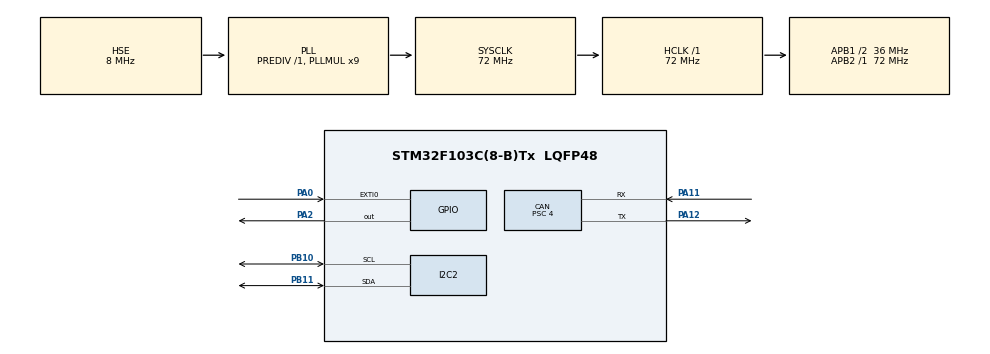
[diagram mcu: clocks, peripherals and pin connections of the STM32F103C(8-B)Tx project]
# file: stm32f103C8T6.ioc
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CAN.BS1=CAN_BS1_13TQ
CAN.BS2=CAN_BS2_4TQ
CAN.CalculateBaudRate=500000
CAN.CalculateTimeBit=2000
CAN.CalculateTimeQuantum=111.11111111111111
CAN.Mode=CAN_MODE_LOOPBACK
CAN.NART=ENABLE
CAN.Prescaler=4
I2C2.I2C_Mode=I2C_Fast
Mcu.Family=STM32F1
Mcu.Name=STM32F103C(8-B)Tx
Mcu.Package=LQFP48
NVIC.EXTI0_IRQn=true\:1\:0\:true\:false\:true\:true\:true\:true
NVIC.PriorityGroup=NVIC_PRIORITYGROUP_4
NVIC.USB_LP_CAN1_RX0_IRQn=true\:2\:0\:true\:false\:true\:true\:true\:true
PA0-WKUP.GPIO_PuPd=GPIO_PULLUP
PA0-WKUP.Signal=GPXTI0
PA11.Mode=CAN_Activate
PA11.Signal=CAN_RX
PA12.Mode=CAN_Activate
PA12.Signal=CAN_TX
PA13.Mode=Serial_Wire
PA13.Signal=SYS_JTMS-SWDIO
PA14.Mode=Serial_Wire
PA14.Signal=SYS_JTCK-SWCLK
PA2.GPIO_ModeDefaultOutputPP=GPIO_MODE_OUTPUT_PP
PA2.GPIO_PuPd=GPIO_NOPULL
PA2.Signal=GPIO_Output
PB10.Mode=I2C
PB10.Signal=I2C2_SCL
PB11.Mode=I2C
PB11.Signal=I2C2_SDA
PD0-OSC_IN.Mode=HSE-External-Oscillator
PD0-OSC_IN.Signal=RCC_OSC_IN
PD1-OSC_OUT.Mode=HSE-External-Oscillator
PD1-OSC_OUT.Signal=RCC_OSC_OUT
ProjectManager.HeapSize=0x200
ProjectManager.StackSize=0x400
ProjectManager.TargetToolchain=CMake
RCC.AHBFreq_Value=72000000
RCC.APB1CLKDivider=RCC_HCLK_DIV2
RCC.APB1Freq_Value=36000000
RCC.APB1TimFreq_Value=72000000
RCC.APB2Freq_Value=72000000
RCC.APB2TimFreq_Value=72000000
RCC.HCLKFreq_Value=72000000
RCC.PLLMUL=RCC_PLL_MUL9
RCC.PLLSourceVirtual=RCC_PLLSOURCE_HSE
RCC.SYSCLKFreq_VALUE=72000000
RCC.SYSCLKSource=RCC_SYSCLKSOURCE_PLLCLK
RCC.USBFreq_Value=72000000
board=custom

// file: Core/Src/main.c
/* USER CODE BEGIN Header */
/**
 ******************************************************************************
 * @file           : main.c
 * @brief          : Main program body
 * @author         : luo-luo-o
 ******************************************************************************
 * @attention
 *
 * Copyright (c) 2026 STMicroelectronics.
 * All rights reserved.
 *
 * This software is licensed under terms that can be found in the LICENSE file
 * in the root directory of this software component.
 * If no LICENSE file comes with this software, it is provided AS-IS.
 *
 ******************************************************************************
 */
/* USER CODE END Header */
#include "main.h"

/* USER CODE BEGIN Includes */

#include "OLED.h"
#include "CAN.h"
#include "stm32f1xx_hal.h"
#include <string.h>

/* USER CODE END Includes */

/* USER CODE BEGIN PD */
#define LED_ON GPIO_PIN_SET
#define LED_OFF GPIO_PIN_RESET

/* USER CODE END PD */

CAN_HandleTypeDef hcan;

I2C_HandleTypeDef hi2c2;

/* USER CODE BEGIN PV */

static CAN_RxHeaderTypeDef RxHeader;
static uint8_t RxData[8];

/* USER CODE END PV */

void SystemClock_Config(void);
static void MX_GPIO_Init(void);
static void MX_CAN_Init(void);
static void MX_I2C2_Init(void);

int main(void)
{

  /* MCU Configuration--------------------------------------------------------*/

  /* Reset of all peripherals, Initializes the Flash interface and the Systick. */
  HAL_Init();

  /* Configure the system clock */
  SystemClock_Config();

  /* Initialize all configured peripherals */
  MX_GPIO_Init();
  MX_CAN_Init();
  MX_I2C2_Init();
  /* USER CODE BEGIN 2 */
  OLED_Init();
  CAN_Init();

  uint8_t count = 0; // 计数变量

  /* USER CODE END 2 */

  /* Infinite loop */
  /* USER CODE BEGIN WHILE */
  while (1)
  {
    HAL_GPIO_WritePin(GPIOA, GPIO_PIN_2, LED_ON);

    static uint32_t can_send_tick = 0;
    uint8_t msg1[8] = {'H', 'e', 'l', 'l', 'o', ' ', 'C', 'A'};
    uint8_t msg2[8] = {'N', '!', 0, 0, 0, 0, 0, 0};
    uint8_t msg3[8] = {'C', 'O', 'U', 'N', 'T', ':', ' '}; // 用于显示计数值

    if (HAL_GetTick() - can_send_tick >= 0)
    {
      CAN_Send_Msg(0x123, msg1, 8); // 发送第一帧
      CAN_Send_Msg(0x123, msg2, 2); // 发送第二帧
      CAN_Send_Msg(0x125, msg3, 7); // 发送第三帧
      CAN_Send_Num(0x125, count); // 发送计数值

      count++;

      can_send_tick = HAL_GetTick();
    }

    /* USER CODE END WHILE */

  }
}

void SystemClock_Config(void)
{
  RCC_OscInitTypeDef RCC_OscInitStruct = {0};
  RCC_ClkInitTypeDef RCC_ClkInitStruct = {0};

  /** Initializes the RCC Oscillators according to the specified parameters
  * in the RCC_OscInitTypeDef structure.
  */
  RCC_OscInitStruct.OscillatorType = RCC_OSCILLATORTYPE_HSE;
  RCC_OscInitStruct.HSEState = RCC_HSE_ON;
  RCC_OscInitStruct.HSEPredivValue = RCC_HSE_PREDIV_DIV1;
  RCC_OscInitStruct.HSIState = RCC_HSI_ON;
  RCC_OscInitStruct.PLL.PLLState = RCC_PLL_ON;
  RCC_OscInitStruct.PLL.PLLSource = RCC_PLLSOURCE_HSE;
  RCC_OscInitStruct.PLL.PLLMUL = RCC_PLL_MUL9;
  if (HAL_RCC_OscConfig(&RCC_OscInitStruct) != HAL_OK)
  {
    Error_Handler();
  }

  /** Initializes the CPU, AHB and APB buses clocks
  */
  RCC_ClkInitStruct.ClockType = RCC_CLOCKTYPE_HCLK|RCC_CLOCKTYPE_SYSCLK
                              |RCC_CLOCKTYPE_PCLK1|RCC_CLOCKTYPE_PCLK2;
  RCC_ClkInitStruct.SYSCLKSource = RCC_SYSCLKSOURCE_PLLCLK;
  RCC_ClkInitStruct.AHBCLKDivider = RCC_SYSCLK_DIV1;
  RCC_ClkInitStruct.APB1CLKDivider = RCC_HCLK_DIV2;
  RCC_ClkInitStruct.APB2CLKDivider = RCC_HCLK_DIV1;

  if (HAL_RCC_ClockConfig(&RCC_ClkInitStruct, FLASH_LATENCY_2) != HAL_OK)
  {
    Error_Handler();
  }
}

static void MX_CAN_Init(void)
{

  hcan.Instance = CAN1;
  hcan.Init.Prescaler = 4;
  hcan.Init.Mode = CAN_MODE_LOOPBACK;
  hcan.Init.SyncJumpWidth = CAN_SJW_1TQ;
  hcan.Init.TimeSeg1 = CAN_BS1_13TQ;
  hcan.Init.TimeSeg2 = CAN_BS2_4TQ;
  hcan.Init.TimeTriggeredMode = DISABLE;
  hcan.Init.AutoBusOff = DISABLE;
  hcan.Init.AutoWakeUp = DISABLE;
  hcan.Init.AutoRetransmission = ENABLE;
  hcan.Init.ReceiveFifoLocked = DISABLE;
  hcan.Init.TransmitFifoPriority = DISABLE;
  if (HAL_CAN_Init(&hcan) != HAL_OK)
  {
    Error_Handler();
  }

}

static void MX_I2C2_Init(void)
{

  hi2c2.Instance = I2C2;
  hi2c2.Init.ClockSpeed = 400000;
  hi2c2.Init.DutyCycle = I2C_DUTYCYCLE_2;
  hi2c2.Init.OwnAddress1 = 0;
  hi2c2.Init.AddressingMode = I2C_ADDRESSINGMODE_7BIT;
  hi2c2.Init.DualAddressMode = I2C_DUALADDRESS_DISABLE;
  hi2c2.Init.OwnAddress2 = 0;
  hi2c2.Init.GeneralCallMode = I2C_GENERALCALL_DISABLE;
  hi2c2.Init.NoStretchMode = I2C_NOSTRETCH_DISABLE;
  if (HAL_I2C_Init(&hi2c2) != HAL_OK)
  {
    Error_Handler();
  }

}

static void MX_GPIO_Init(void)
{
  GPIO_InitTypeDef GPIO_InitStruct = {0};

  /* GPIO Ports Clock Enable */
  __HAL_RCC_GPIOD_CLK_ENABLE();
  __HAL_RCC_GPIOA_CLK_ENABLE();
  __HAL_RCC_GPIOB_CLK_ENABLE();

  /*Configure GPIO pin Output Level */
  HAL_GPIO_WritePin(GPIOA, GPIO_PIN_2, GPIO_PIN_RESET);

  /*Configure GPIO pin : PA0 */
  GPIO_InitStruct.Pin = GPIO_PIN_0;
  GPIO_InitStruct.Mode = GPIO_MODE_IT_RISING;
  GPIO_InitStruct.Pull = GPIO_PULLUP;
  HAL_GPIO_Init(GPIOA, &GPIO_InitStruct);

  /*Configure GPIO pin : PA2 */
  GPIO_InitStruct.Pin = GPIO_PIN_2;
  GPIO_InitStruct.Mode = GPIO_MODE_OUTPUT_PP;
  GPIO_InitStruct.Pull = GPIO_NOPULL;
  GPIO_InitStruct.Speed = GPIO_SPEED_FREQ_LOW;
  HAL_GPIO_Init(GPIOA, &GPIO_InitStruct);

  /* EXTI interrupt init*/
  HAL_NVIC_SetPriority(EXTI0_IRQn, 1, 0);
  HAL_NVIC_EnableIRQ(EXTI0_IRQn);

}

/* USER CODE BEGIN 4 */

void HAL_GPIO_EXTI_Callback(uint16_t GPIO_Pin)
{
  if (GPIO_Pin == GPIO_PIN_0) {
    OLED_ShowString(1, 1, "OLED Test!!");
  }
}

void HAL_CAN_RxFifo0MsgPendingCallback(CAN_HandleTypeDef *hcan)
{
  if (HAL_CAN_GetRxMessage(hcan, CAN_RX_FIFO0, &RxHeader, RxData) == HAL_OK)
  {
    char temp[9] = {0};
    uint8_t len = RxHeader.DLC;
    memcpy(temp, RxData, len);
    temp[len] = '\0'; // 确保字符串结尾

    if (RxHeader.StdId == 0x123) {
      if (RxHeader.DLC == 8) {
        OLED_ShowString(1, 1, "CAN Recv:");
        OLED_ShowString(2, 1, temp); // 显示第一帧内容
      } else if (RxHeader.DLC == 2) {
        OLED_ShowString(2, 9, temp); // 显示第二帧内容
      }
    } else if (RxHeader.StdId == 0x125) {
      if (RxHeader.DLC == 7) {
       OLED_ShowString(3, 1, temp); // 显示第三帧内容
      }
      else {
        OLED_ShowString(3, 8, temp); // 显示第三帧内容
      }
    }
  }
}

/* USER CODE END 4 */

void Error_Handler(void)
{
  /* USER CODE BEGIN Error_Handler_Debug */
  /* User can add his own implementation to report the HAL error return state */
  __disable_irq();
  while (1) {
    HAL_GPIO_WritePin(GPIOA, GPIO_PIN_2, LED_ON);
    HAL_Delay(100);
    HAL_GPIO_WritePin(GPIOA, GPIO_PIN_2, LED_OFF);
    HAL_Delay(100);
  }
  /* USER CODE END Error_Handler_Debug */
}
#ifdef USE_FULL_ASSERT
/**
  * @brief  Reports the name of the source file and the source line number
  *         where the assert_param error has occurred.
  * @param  file: pointer to the source file name
  * @param  line: assert_param error line source number
  * @retval None
  */
void assert_failed(uint8_t *file, uint32_t line)
{
  /* USER CODE BEGIN 6 */
  /* User can add his own implementation to report the file name and line
     number, ex: printf("Wrong parameters value: file %s on line %d\r\n", file,
     line) */
  /* USER CODE END 6 */
}
#endif /* USE_FULL_ASSERT */
